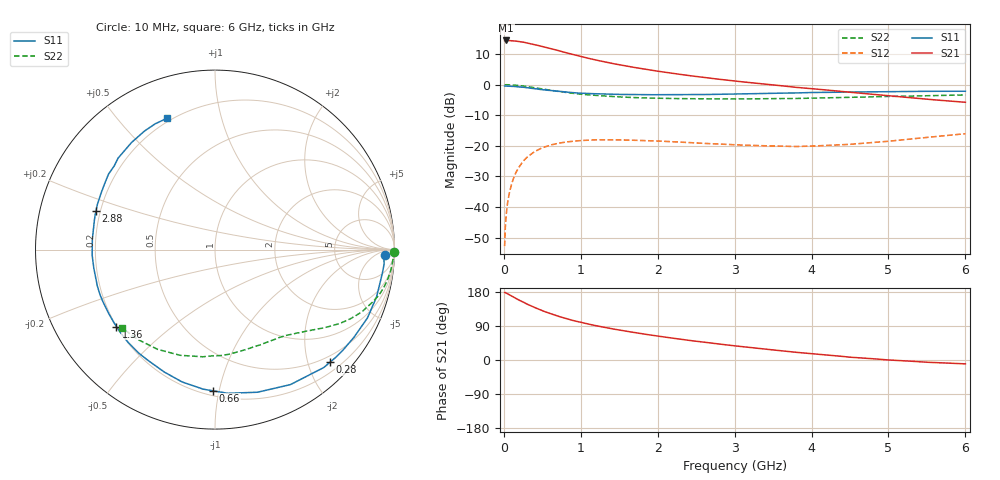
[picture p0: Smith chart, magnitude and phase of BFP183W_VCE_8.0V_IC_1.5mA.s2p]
! Infineon Technologies  Discrete & RF Semiconductors
! BFP183W
! VCE = 8.0 V,  IC =  1.5 mA
! Common Emitter S-Parameters:  Jan 2016
# GHz  S  MA  R  50
!  f  S11  S21  S12  S22
! GHz  MAG  ANG  MAG  ANG  MAG  ANG  MAG  ANG
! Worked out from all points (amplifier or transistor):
!   210 points, 10 MHz to 6 GHz, reference 50 ohm
!   highest |S21| = 14.4 dB at 30 MHz (marker M1)
!   |S21| within 3 dB of that: start of sweep to 660.1 MHz
!   unconditionally stable (mu >= 1): 2.556 GHz to end of sweep
!   at 185 MHz: K = 0.08, MSG = 20.8 dB, |S12| = -27.5 dB
!   at 1.52 GHz: K = 0.58, MSG = 12.2 dB, |S12| = -18.1 dB
!   at 6 GHz: K = 1.06, MAG = 3.7 dB, |S12| = -16.0 dB
!   S11 on the Smith chart (normalised r, x): 10 MHz: 28, -15; 280 MHz: 0.37, -2.40; 660 MHz: 0.23, -0.96; 1.36 GHz: 0.20, -0.33; 2.88 GHz: 0.18, +0.15; 6 GHz: 0.18, +0.68
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0.01  0.9451 -1.7  5.227 178.1  0.0023 88.9  0.9984 -0.7
0.02  0.9432 -3.3  5.241 177.9  0.0048 86.7  0.9899 -1.3
0.03  0.9455 -5.0  5.253 176.8  0.0073 88.7  0.9959 -2.0
0.06  0.9394 -9.8  5.236 173.4  0.0143 83.9  0.992 -3.8
0.12  0.933 -19.5  5.168 166.7  0.0282 77.5  0.9828 -7.7
0.2  0.9154 -32.3  5.046 157.8  0.0454 71.3  0.9643 -12.6
0.28  0.8969 -44.4  4.844 149.8  0.0611 63.9  0.9359 -17.0
0.4  0.8616 -60.8  4.508 138.5  0.0805 54.7  0.8887 -23.0
0.5  0.8292 -73.4  4.193 129.8  0.0931 48.0  0.8477 -27.0
0.66  0.7869 -90.8  3.719 118.6  0.1068 39.1  0.7889 -32.1
0.8  0.7597 -104.0  3.333 109.7  0.1152 32.9  0.745 -35.9
1.02  0.7214 -121.1  2.829 98.5  0.1223 25.0  0.694 -40.6
1.2  0.7083 -133.1  2.511 90.4  0.1253 19.8  0.6654 -43.9
1.36  0.6965 -142.0  2.279 84.1  0.1257 16.5  0.6449 -46.6
1.6  0.6889 -154.0  2.004 75.5  0.1245 12.8  0.6206 -50.4
2.02  0.6831 -171.3  1.641 62.6  0.1196 8.4  0.5981 -57.4
2.4  0.6858 175.9  1.407 52.0  0.1133 6.5  0.5881 -64.2
2.88  0.6971 162.1  1.188 40.2  0.1057 7.5  0.5828 -72.8
3.1  0.7042 156.5  1.109 35.2  0.1028 8.9  0.5837 -77.1
4.1  0.7438 134.9  0.836 15.0  0.1003 21.5  0.6028 -98.9
5.1  0.7694 119.7  0.639 -1.0  0.1224 33.3  0.643 -122.1
6  0.7786 110.2  0.514 -10.2  0.1577 36.4  0.6776 -139.9
